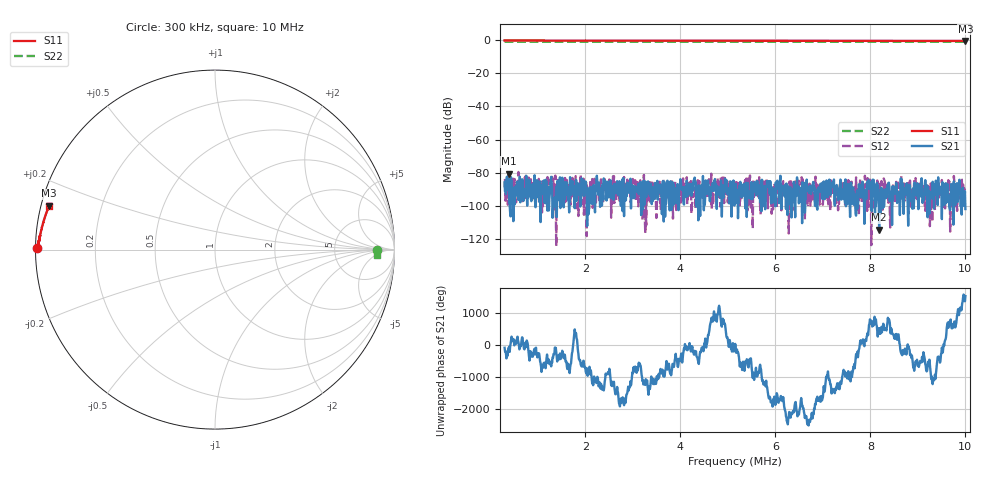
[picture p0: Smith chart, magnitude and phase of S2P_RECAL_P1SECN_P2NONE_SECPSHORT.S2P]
!Keysight Technologies,E5061B,MY49709559,B.05.06
!Date: Fri Apr 08 00:52:47 2022
!Data & Calibration Information:
!Freq	S11:SOLT2(ON)	S21:SOLT2(ON)	S12:SOLT2(ON)	S22:SOLT2(ON)
# Hz S RI R 50
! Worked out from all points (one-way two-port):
!   1000 points, 300 kHz to 10 MHz, reference 50 ohm
!   highest |S21| = -80.51 dB at 387.4 kHz (marker M1); lowest = -114.5 dB at 8.184 MHz (marker M2)
!   lowest |S11| = -0.4 dB at 10 MHz (marker M3), VSWR 43.83, Z = 1.16 + j6.49 ohm
!   |S11| at or under -10 dB: nowhere
!   |S22| runs from -0.9 to -0.9 dB; largest |S21 - S12| = 0.00013
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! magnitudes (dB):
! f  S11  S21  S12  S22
! 300 kHz  -0.1  -86.0  -89.0  -0.9
! 387.4 kHz  -0.1  -80.5  -82.2  -0.9
! 533 kHz  -0.1  -94.1  -96.7  -0.9
! 542.7 kHz  -0.1  -87.8  -98.0  -0.9
! 639.8 kHz  -0.1  -92.0  -92.1  -0.9
! 649.5 kHz  -0.1  -92.4  -94.4  -0.9
! 824.3 kHz  -0.1  -84.4  -89.3  -0.9
! 960.3 kHz  -0.1  -92.8  -97.8  -0.9
! 1.135 MHz  -0.1  -97.7  -85.6  -0.9
! 1.193 MHz  -0.1  -98.8  -94.4  -0.9
! 1.31 MHz  -0.1  -107.2  -93.4  -0.9
! 1.727 MHz  -0.2  -85.1  -83.1  -0.9
! 1.922 MHz  -0.2  -83.5  -87.8  -0.9
! 2.242 MHz  -0.2  -81.9  -85.3  -0.9
! 2.329 MHz  -0.2  -100.1  -84.1  -0.9
! 2.931 MHz  -0.2  -91.4  -91.1  -0.9
! 3.543 MHz  -0.2  -87.5  -85.7  -0.9
! 5.155 MHz  -0.2  -98.5  -94.3  -0.9
! 6.767 MHz  -0.3  -89.2  -88.9  -0.9
! 8.184 MHz  -0.3  -114.5  -101.8  -0.9
! 8.388 MHz  -0.3  -86.0  -86.8  -0.9
! 10 MHz  -0.4  -102.0  -90.5  -0.9
